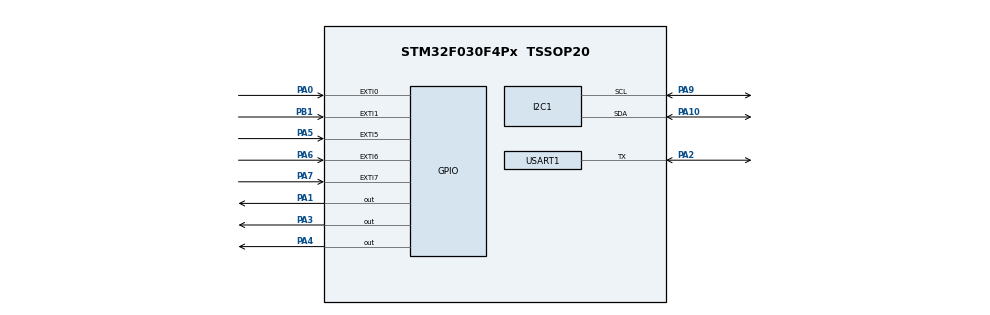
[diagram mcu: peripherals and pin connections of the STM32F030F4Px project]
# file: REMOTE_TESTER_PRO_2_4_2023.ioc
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Mcu.Family=STM32F0
Mcu.Name=STM32F030F4Px
Mcu.Package=TSSOP20
NVIC.EXTI0_1_IRQn=true\:0\:0\:true\:false\:true\:true\:true
NVIC.EXTI4_15_IRQn=true\:0\:0\:false\:false\:true\:true\:true
PA0.GPIO_ModeDefaultEXTI=GPIO_MODE_IT_RISING_FALLING
PA0.Signal=GPXTI0
PA1.Signal=GPIO_Output
PA10.Mode=I2C
PA10.Signal=I2C1_SDA
PA13.Mode=Serial_Wire
PA13.Signal=SYS_SWDIO
PA14.Mode=Serial_Wire
PA14.Signal=SYS_SWCLK
PA2.Mode=Half_duplex(single_wire_mode)
PA2.Signal=USART1_TX
PA3.Signal=GPIO_Output
PA4.GPIO_PuPd=GPIO_PULLUP
PA4.Signal=GPIO_Output
PA5.GPIO_ModeDefaultEXTI=GPIO_MODE_IT_RISING_FALLING
PA5.Signal=GPXTI5
PA6.GPIO_ModeDefaultEXTI=GPIO_MODE_IT_RISING
PA6.Signal=GPXTI6
PA7.GPIO_ModeDefaultEXTI=GPIO_MODE_IT_RISING
PA7.Signal=GPXTI7
PA9.Mode=I2C
PA9.Signal=I2C1_SCL
PB1.GPIO_ModeDefaultEXTI=GPIO_MODE_IT_RISING
PB1.Signal=GPXTI1
ProjectManager.HeapSize=0x200
ProjectManager.StackSize=0x400
ProjectManager.TargetToolchain=MDK-ARM V5.27
TIM14.Period=50000
TIM14.Prescaler=439
TIM16.Prescaler=39999
USART1.BaudRate=9600
USART1.VirtualMode-Half_duplex(single_wire_mode)=VM_ASYNC
VP_TIM14_VS_ClockSourceINT.Mode=Enable_Timer
VP_TIM16_VS_ClockSourceINT.Mode=Enable_Timer
board=custom

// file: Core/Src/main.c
/* USER CODE BEGIN Header */
/**
  ******************************************************************************
  * @file           : main.c
  * @brief          : Main program body
  ******************************************************************************
  * @attention
  *
  * <h2><center>&copy; Copyright (c) 2023 STMicroelectronics.
  * All rights reserved.</center></h2>
  *
  * This software component is licensed by ST under BSD 3-Clause license,
  * the "License"; You may not use this file except in compliance with the
  * License. You may obtain a copy of the License at:
  *                        opensource.org/licenses/BSD-3-Clause
  *
  ******************************************************************************
  */
/* USER CODE END Header */
#include "main.h"

/* USER CODE BEGIN Includes */
#include <stdbool.h>
#include <stdio.h>
#include <stdlib.h>
#include <string.h>
#include <ssd1306.h>
/* USER CODE END Includes */

/* USER CODE BEGIN PTD */
#define ms_converter 	17  //at timer pr =439 : 1.8ms ==32 step => 1ms ==17 step
#define time_out 	ms_converter*10  //10ms at timer pr =439
#define EEPROM_I2C &hi2c1
/* USER CODE END PTD */

I2C_HandleTypeDef hi2c1;

TIM_HandleTypeDef htim14;
TIM_HandleTypeDef htim16;

UART_HandleTypeDef huart1;

void SystemClock_Config(void);
static void MX_GPIO_Init(void);
static void MX_I2C1_Init(void);
static void MX_TIM14_Init(void);
static void MX_USART1_UART_Init(void);
static void MX_TIM16_Init(void);
/* USER CODE BEGIN PFP */
bool flg = false;
int  bit_cntr=0;
uint8_t signal_state=0;
uint8_t byte_cntr=0,temporary_data=0;
uint8_t data_repository[255];
uint8_t data_sorter[255];
uint8_t data_repository_to_binary[255];
uint8_t data_display[40];
uint8_t system_reverse[2];
uint8_t data_reverse[1];

bool tx_flag=0;
uint8_t search_res[20];
uint8_t oled_convert_data[16]={'0','1','2','3','4','5','6','7','8','9','A','B','C','D','E','F'};
uint8_t oled_convert_data_decimal[10]={'0','1','2','3','4','5','6','7','8','9'};
uint8_t bzgtrn=0;//most biggest data
uint8_t riztrn=0;//most smalling :) data
uint8_t data_bit_lenght=0;//data len per bits
uint8_t average=0;//average betwen riz and big
uint8_t tedad=0;
uint8_t	index_updater_flg=0;//flag for updating first loc (2B ) of at24

				//while(!HAL_I2C_Mem_Write(EEPROM_I2C,AT24ADDRESS,0*32,2,at24.read_lst_loc,2,1000));
uint8_t tst[32]={0};//
//////////////////////////////////////////////////////////////////menu
#define start_up_layer 0
#define home_layer 1
#define save_layer 2
#define memory_layer 3
#define search_layer 4
#define save_notif_layer 5

#define AT24ADDRESS 0xA0
struct menu
{
	uint8_t layer;
};
struct menu my_menu;
/////////////////////////////////////////////////////////////////save menu
uint8_t name_monitor[37]={'A','B','C','D','E','F','G','H','I','J','K','L','M','N','O','P','Q','R','S','T','U','V','W','X','Y','Z',
													'0','1','2','3','4','5','6','7','8','9'};

struct at24c256
{
	uint8_t read_lst_loc[2];
	uint8_t	read_data[32];
	uint8_t saver_buff[32];
	uint8_t last_add[2];//0...0x7fff
}	;
struct at24c256 at24;

struct name_menu
{
	uint8_t name_buff_index;
	uint8_t name_x_loc;
	uint8_t name_y_loc;
	uint8_t name_buf[20];
};
struct name_menu my_name;

//struct current_key_info
//{
//	uint8_t tedad[2];
//	uint8_t data[10];
//	uint8_t name_buf[20];
//};
//struct current_key_info informaition;
/* USER CODE END PFP */

/* USER CODE BEGIN 0 */
void searching (void);
void lcd_manager (uint8_t lcd_status);
void swap(uint8_t* xp, uint8_t* yp);
void selectionSort(uint8_t arr[], uint8_t n);
void HAL_GPIO_EXTI_Callback(uint16_t GPIO_Pin)
{//HAL_UART_Transmit(&huart1,(uint8_t *)&signal_state,1,100);
	//HAL_GPIO_TogglePin(GPIOA,GPIO_PIN_4);
	if(GPIO_Pin==GPIO_PIN_5 && tx_flag==0 && my_menu.layer==home_layer)
	{
		switch (signal_state)
		{
/*-------------------------------------------------------------------------*/
			case 0 :			//waiting for preamble

				if(HAL_GPIO_ReadPin(GPIOA,GPIO_PIN_5)==0)//falling edge
				{

					signal_state=1;
					__HAL_TIM_SET_COUNTER(&htim14,0);
					HAL_TIM_Base_Start(&htim14);
				}
				break;

/*-------------------------------------------------------------------------*/
			case 1 :		//first preamble cheking
				if(HAL_GPIO_ReadPin(GPIOA,GPIO_PIN_5)==1)//rising edge
				{
					if(__HAL_TIM_GET_COUNTER(&htim14)>3*ms_converter)//3 ms(at timer_pr=439 : 1.8ms == 32 step)
					{

						signal_state=2;
						HAL_TIM_Base_Stop(&htim14);
						__HAL_TIM_SET_COUNTER(&htim14,0);
					}
					else
					{	signal_state--; }

				}
				else
				{	signal_state--; }
				break;
/*-------------------------------------------------------------------------*/
			case 2 :
				if(HAL_GPIO_ReadPin(GPIOA,GPIO_PIN_5)==0)//falling edge
				{

					signal_state=3;
					//HAL_GPIO_WritePin(GPIOA,GPIO_PIN_1,GPIO_PIN_SET);++++++++++++++++++++++++
					HAL_GPIO_WritePin(GPIOA,GPIO_PIN_1,GPIO_PIN_SET);//buzz
				}
				else
				{
					signal_state=0;
				}
				break;
/*-------------------------------------------------------------------------*/
			case 3 :////data process

				if(HAL_GPIO_ReadPin(GPIOA,GPIO_PIN_5)==1)//rising edge
				{
					__HAL_TIM_SET_COUNTER(&htim14,0);
					HAL_TIM_Base_Start(&htim14);
				}
				else if(HAL_GPIO_ReadPin(GPIOA,GPIO_PIN_5)==0)//falling edge
				{
				//	if(__HAL_TIM_GET_COUNTER(&htim14)>=10)//wide
					//{
						data_repository[bit_cntr]=__HAL_TIM_GET_COUNTER(&htim14);
						HAL_TIM_Base_Stop(&htim14);
					//}
					//else
					//{
						//data_repository[bit_cntr]=0;

				//}
					bit_cntr++;
					data_bit_lenght=bit_cntr;
					HAL_GPIO_WritePin(GPIOA,GPIO_PIN_4,GPIO_PIN_RESET);
				}

				if(__HAL_TIM_GET_COUNTER(&htim14)>=5*ms_converter || bit_cntr>=255)//__HAL_TIM_GET_COUNTER(&htim14)>=5*ms_converter ||
				{
					HAL_NVIC_DisableIRQ(EXTI4_15_IRQn);
					bit_cntr=0;
					byte_cntr=0;
					signal_state=0;
					tx_flag=1;
					HAL_TIM_Base_Stop(&htim14);
					HAL_GPIO_WritePin(GPIOA,GPIO_PIN_4,GPIO_PIN_SET);

				}

				break;

/*-------------------------------------------------------------------------*/
			default:
				break;
		}
	}
	//************************************************************************* key pad
	else if(GPIO_Pin==GPIO_PIN_0)//1 6 7 0 //1:right
	{

	//	HAL_GPIO_TogglePin(GPIOA,GPIO_PIN_4);
		if(my_menu.layer==home_layer && HAL_GPIO_ReadPin(GPIOA,GPIO_PIN_0)==1) //save key pressed
		{
			my_menu.layer=save_layer;
			lcd_manager(save_layer);
			HAL_GPIO_TogglePin(GPIOA,GPIO_PIN_4);
		}
		else if(my_menu.layer==save_layer)
		{
		if(HAL_GPIO_ReadPin(GPIOA,GPIO_PIN_0)==0 && my_menu.layer==save_layer)
		{
			__HAL_TIM_SET_COUNTER(&htim16,0);
			HAL_TIM_Base_Start(&htim16);
		}
		else if(HAL_GPIO_ReadPin(GPIOA,GPIO_PIN_0)==1 && my_menu.layer==save_layer)
		{
			HAL_TIM_Base_Stop(&htim16);
			if(__HAL_TIM_GET_COUNTER(&htim16)<=400)
			{

				 if(my_menu.layer==save_layer && my_name.name_x_loc<10)
				{
					my_name.name_buf[my_name.name_x_loc]=name_monitor[my_name.name_buff_index];
					my_name.name_x_loc++;
					lcd_manager(save_layer);
				}
			}
			else//long holding
			{
				///saving to at24
				HAL_I2C_Mem_Read(EEPROM_I2C, AT24ADDRESS, 0*32, 2, at24.read_lst_loc, 2, 1000);//find index for saving
				if(at24.read_lst_loc[1]<255)
				{
				at24.read_lst_loc[1]++;
				}
				else if(at24.read_lst_loc[1]>=255 &&at24.read_lst_loc[0]<255 )
				{
					at24.read_lst_loc[1]=0;
					at24.read_lst_loc[0]++;
				}
				else
				{
					at24.read_lst_loc[1]=0;
					at24.read_lst_loc[0]=0;
				}
				index_updater_flg=1;
				//while(!HAL_I2C_Mem_Write(EEPROM_I2C,AT24ADDRESS,0*32,2,at24.read_lst_loc,2,1000));
				memset(at24.saver_buff,0,32);
			//	HAL_I2C_mem
				memcpy(at24.saver_buff+2,data_display,4);
				memcpy(at24.saver_buff+12,my_name.name_buf,my_name.name_x_loc);//my_name.name_buff_index
				memcpy(at24.saver_buff,at24.read_lst_loc,2);
				//while(!HAL_I2C_Mem_Write(EEPROM_I2C,AT24ADDRESS,1*32,2,at24.saver_buff,32,1000));
				while(!HAL_I2C_Mem_Write(EEPROM_I2C,AT24ADDRESS,((255*at24.read_lst_loc[0])+at24.read_lst_loc[1])*32,2,at24.saver_buff,32,1000));
				my_menu.layer=save_notif_layer;
				lcd_manager(save_notif_layer);

			}

		}
	}
		else if((my_menu.layer==start_up_layer|| my_menu.layer==save_notif_layer) && HAL_GPIO_ReadPin(GPIOA,GPIO_PIN_0)==1 )
		{
			memset(data_display,0,32);
			my_name.name_x_loc=0;
			my_menu.layer=home_layer;
			lcd_manager(home_layer);
		}
		__HAL_TIM_SET_COUNTER(&htim16,0);
	}
	//********************************************************************
	else if(GPIO_Pin==GPIO_PIN_6)//1 6 7 0///2 up
	{

		if(my_menu.layer==save_layer) //up
		{
			HAL_GPIO_TogglePin(GPIOA,GPIO_PIN_4);
			if(my_name.name_buff_index<25)
			my_name.name_buff_index++;
			else
				my_name.name_buff_index=0;
			lcd_manager(save_layer);
		}
			else if(my_menu.layer==start_up_layer || my_menu.layer==save_notif_layer)
		{
			memset(data_display,0,32);
			my_name.name_x_loc=0;
			my_menu.layer=home_layer;
			lcd_manager(home_layer);
		}
	//
	}
	//***************************************************************
	else	if(GPIO_Pin==GPIO_PIN_1)//1 6 7 0///4 left
	{
		HAL_GPIO_TogglePin(GPIOA,GPIO_PIN_4);
		if(my_menu.layer==save_layer && my_name.name_x_loc>0)
				{
					//my_name.name_buf[my_name.name_x_loc]=name_monitor[my_name.name_buff_index];
					my_name.name_x_loc--;
					lcd_manager(save_layer);
				}
			else if(my_menu.layer==start_up_layer || my_menu.layer==save_notif_layer)
		{
			memset(data_display,0,32);
			my_name.name_x_loc=0;
			my_menu.layer=home_layer;
			lcd_manager(home_layer);
		}
		else if(my_menu.layer==home_layer)
		{
			my_menu.layer=search_layer;
			lcd_manager(search_layer);
			searching();
		}

	}
	//*********************************************************

	else	if(GPIO_Pin==GPIO_PIN_7)//1 6 7 0///3 down
	{
		if(my_menu.layer==save_layer) //down
		{
			HAL_GPIO_TogglePin(GPIOA,GPIO_PIN_4);
			if(my_name.name_buff_index>0)
			my_name.name_buff_index--;
			else
				my_name.name_buff_index=25;
			lcd_manager(save_layer);
		}
		//
				else if(my_menu.layer==start_up_layer || my_menu.layer==save_notif_layer)
		{
			memset(data_display,0,32);
			my_name.name_x_loc=0;
			my_menu.layer=home_layer;
			lcd_manager(home_layer);
		}
	}

}

/* USER CODE END 0 */

int main(void)
{

  /* MCU Configuration--------------------------------------------------------*/

  /* Reset of all peripherals, Initializes the Flash interface and the Systick. */
  HAL_Init();

  /* Configure the system clock */
  SystemClock_Config();

  /* Initialize all configured peripherals */
  MX_GPIO_Init();
  MX_I2C1_Init();
  MX_TIM14_Init();
  MX_USART1_UART_Init();
  MX_TIM16_Init();

  /* Infinite loop */
  /* USER CODE BEGIN WHILE */
		ssd1306_Init();
		//HAL_UART_Transmit(&huart1,(uint8_t *)&"hilooooo",32,100);

		//HAL_Delay(1000);
		HAL_GPIO_TogglePin(GPIOA,GPIO_PIN_4);
		my_menu.layer=start_up_layer;
		lcd_manager(my_menu.layer);
		HAL_GPIO_WritePin(GPIOA,GPIO_PIN_3,GPIO_PIN_RESET);
		//HAL_I2C_Mem_Write(&hi2c1,AT24ADDRESS,1,2,data_display,20,1000);
		//for(uint32_t i=0;i<10;i++)
	//	{
		//HAL_I2C_Mem_Read(EEPROM_I2C, AT24ADDRESS,0*32, 2, at24.read_data, 32, 1000);
		//HAL_UART_Transmit(&huart1,(uint8_t *)&at24.read_data,32,100);
		//while(!HAL_I2C_Mem_Write(EEPROM_I2C,AT24ADDRESS,0*32,2,tst,32,100));

		HAL_I2C_Mem_Read(EEPROM_I2C, AT24ADDRESS,0*32, 2, at24.read_data, 32, 1000);
		HAL_UART_Transmit(&huart1,(uint8_t *)&at24.read_data,32,100);

		HAL_I2C_Mem_Read(EEPROM_I2C, AT24ADDRESS, 1*32, 2, at24.read_data, 32, 1000);
		HAL_UART_Transmit(&huart1,(uint8_t *)&at24.read_data,32,100);
		/*
						HAL_I2C_Mem_Read(EEPROM_I2C, AT24ADDRESS,0*32, 2, at24.read_data, 32, 1000);
		HAL_UART_Transmit(&huart1,(uint8_t *)&at24.read_data,32,100);

		//}
				HAL_I2C_Mem_Read(EEPROM_I2C, AT24ADDRESS, 1*32, 2, at24.read_data, 32, 1000);
		HAL_UART_Transmit(&huart1,(uint8_t *)&at24.read_data,32,100);

				HAL_I2C_Mem_Read(EEPROM_I2C, AT24ADDRESS, 2*32, 2, at24.read_data, 32, 1000);
		HAL_UART_Transmit(&huart1,(uint8_t *)&at24.read_data,32,100);

						HAL_I2C_Mem_Read(EEPROM_I2C, AT24ADDRESS, 3*32, 2, at24.read_data, 32, 1000);
		HAL_UART_Transmit(&huart1,(uint8_t *)&at24.read_data,32,100);

						HAL_I2C_Mem_Read(EEPROM_I2C, AT24ADDRESS, 4*32, 2, at24.read_data, 32, 1000);
		HAL_UART_Transmit(&huart1,(uint8_t *)&at24.read_data,32,100);

				HAL_I2C_Mem_Read(EEPROM_I2C, AT24ADDRESS, 5*32, 2, at24.read_data, 32, 1000);
		HAL_UART_Transmit(&huart1,(uint8_t *)&at24.read_data,32,100);

						HAL_I2C_Mem_Read(EEPROM_I2C, AT24ADDRESS, 65, 2, at24.read_data, 32, 1000);
		HAL_UART_Transmit(&huart1,(uint8_t *)&at24.read_data,32,100);*/

	HAL_GPIO_WritePin(GPIOA,GPIO_PIN_3,GPIO_PIN_RESET);
  while (1)
  {
		if(index_updater_flg==1)
		{
			while(!HAL_I2C_Mem_Write(EEPROM_I2C,AT24ADDRESS,0*32,2,at24.read_lst_loc,2,1000));
			index_updater_flg=0;
		}
		if(__HAL_TIM_GET_COUNTER(&htim14)>=15*ms_converter && signal_state==3){
			HAL_NVIC_DisableIRQ(EXTI4_15_IRQn);
			bit_cntr=0;
			byte_cntr=0;
			signal_state=0;
			tx_flag=1;
			HAL_TIM_Base_Stop(&htim14);
			HAL_GPIO_WritePin(GPIOA,GPIO_PIN_4,GPIO_PIN_SET);
		}
		if(tx_flag==1)//--------------------------------------------------show data
		{//HAL_GPIO_WritePin(GPIOA,GPIO_PIN_4,GPIO_PIN_RESET);
			//HAL_UART_Transmit(&huart1,(uint8_t *)&data_bit_lenght,1,100);
			//HAL_UART_Transmit(&huart1,(uint8_t *)&data_repository,32,100);
			HAL_GPIO_WritePin(GPIOA,GPIO_PIN_1,GPIO_PIN_RESET);

			for(uint8_t i=0;i<data_bit_lenght-1;i++)//find longest width
			{
				if(bzgtrn<data_repository[i])
				bzgtrn=data_repository[i];
			}
			//***************************
			riztrn=bzgtrn;
			for(uint8_t i=0;i<data_bit_lenght-1;i++)//find  shortest width
			{
				if(riztrn>data_repository[i])
				riztrn=data_repository[i];
				//HAL_UART_Transmit(&huart1,(uint8_t *)&data_repository[i],1,100);
			}
			//***********************************sort
			HAL_UART_Transmit(&huart1,(uint8_t *)(0xff),1,100);
			memcpy(data_sorter,data_repository,255);
			selectionSort(data_sorter, data_bit_lenght-1);
			//for(uint8_t i=0;i<data_bit_lenght-1;i++)//find  shortest width
			//{
				//HAL_UART_Transmit(&huart1,(uint8_t *)&data_sorter[i],1,100);
			//}
			riztrn=data_sorter[1];
			bzgtrn=data_sorter[data_bit_lenght-3];
			//***********************************avg
			average=(riztrn+bzgtrn)/2;
			//HAL_UART_Transmit(&huart1,(uint8_t *)&riztrn,1,100);
			//HAL_UART_Transmit(&huart1,(uint8_t *)&bzgtrn,1,100);
			//********************************assign bits from width
			for(uint8_t i=0;i<data_bit_lenght;i++)
			{
				if(data_repository[i]>=average)
				{
					data_repository_to_binary[i]=1;
				}
				else
				{
					data_repository_to_binary[i]=0;
				}
			//	HAL_UART_Transmit(&huart1,(uint8_t *)&data_repository[i],1,100);
			}
			//************************assign Bytes
			memset(data_display,0,sizeof(data_display));
			for (uint8_t i=0;i<data_bit_lenght;i++)
			{

				data_display[i/8]|=(data_repository_to_binary[i]&0x01)<<(7-(i%8));

			}

			for(int i=0;i<=3; i++){
				//HAL_UART_Transmit(&huart1,(uint8_t *)&data_display[i],1,100);
			}
			//reverse system & data bits
			for (uint8_t i=0;i<16;i++)//sys
			{
				if((i%8)<4)
				system_reverse[i/8]|=(data_display[1-(i/8)]&((0x01)<<(i%8)))<<(7-(2*(i%8)));
				else if((i%8)>=4)
				system_reverse[i/8]|=(data_display[1-(i/8)]&((0x01)<<(i%8)))>>((2*(i%8))-7);
			}
			for (uint8_t i=0;i<2;i++)
			{
				data_display[i]=system_reverse[i];
				//HAL_UART_Transmit(&huart1,(uint8_t *)&system_reverse[i],1,100);
			}
			memset(system_reverse,0,sizeof(system_reverse));
			///

			for (uint8_t i=16;i<24;i++)//data
			{
				if((i%8)<4)
				data_reverse[0]|=(data_display[2]&((0x01)<<(i%8)))<<(7-(2*(i%8)));
				else if((i%8)>=4)
				data_reverse[0]|=(data_display[2]&((0x01)<<(i%8)))>>((2*(i%8))-7);
			}
			for (uint8_t i=2;i<3;i++)
			{
				data_display[i]=data_reverse[0];
				//HAL_UART_Transmit(&huart1,(uint8_t *)&data_reverse[0],1,100);
			}
			memset(data_reverse,0,sizeof(data_reverse));
			//****************************************tedad
			if(((data_bit_lenght-1)%8)==0)
			{
			tedad=((data_bit_lenght-1)/8);
			}
			else
			{
				tedad=((data_bit_lenght-1)/8)+1;
			}
			//HAL_UART_Transmit(&huart1,(uint8_t *)&tedad,1,100);
			for(int i=0;i<=tedad+1 ; i++){
			//	HAL_UART_Transmit(&huart1,(uint8_t *)&data_display[i],1,100);
			}
			//HAL_UART_Transmit(&huart1,(uint8_t *)&data_display,tedad,100);
			lcd_manager(home_layer);
			//----------------------------------------------cleare old data
			for (uint8_t i=0;i<4;i++)
			{
				//data_display[i]=0;
			}
			//HAL_Delay(500);
			tx_flag=0;
			bzgtrn=0;
			riztrn=0;

			HAL_Delay(200);

			//HAL_GPIO_WritePin(GPIOA,GPIO_PIN_4,GPIO_PIN_SET);
			HAL_NVIC_EnableIRQ(EXTI4_15_IRQn);
			//HAL_UART_Transmit(&huart1,(uint8_t *)&signal_state,1,100);
		}

    /* USER CODE END WHILE */

  }
}

void SystemClock_Config(void)
{
  RCC_OscInitTypeDef RCC_OscInitStruct = {0};
  RCC_ClkInitTypeDef RCC_ClkInitStruct = {0};
  RCC_PeriphCLKInitTypeDef PeriphClkInit = {0};

  /** Initializes the RCC Oscillators according to the specified parameters
  * in the RCC_OscInitTypeDef structure.
  */
  RCC_OscInitStruct.OscillatorType = RCC_OSCILLATORTYPE_HSI;
  RCC_OscInitStruct.HSIState = RCC_HSI_ON;
  RCC_OscInitStruct.HSICalibrationValue = RCC_HSICALIBRATION_DEFAULT;
  RCC_OscInitStruct.PLL.PLLState = RCC_PLL_NONE;
  if (HAL_RCC_OscConfig(&RCC_OscInitStruct) != HAL_OK)
  {
    Error_Handler();
  }
  /** Initializes the CPU, AHB and APB buses clocks
  */
  RCC_ClkInitStruct.ClockType = RCC_CLOCKTYPE_HCLK|RCC_CLOCKTYPE_SYSCLK
                              |RCC_CLOCKTYPE_PCLK1;
  RCC_ClkInitStruct.SYSCLKSource = RCC_SYSCLKSOURCE_HSI;
  RCC_ClkInitStruct.AHBCLKDivider = RCC_SYSCLK_DIV1;
  RCC_ClkInitStruct.APB1CLKDivider = RCC_HCLK_DIV1;

  if (HAL_RCC_ClockConfig(&RCC_ClkInitStruct, FLASH_LATENCY_0) != HAL_OK)
  {
    Error_Handler();
  }
  PeriphClkInit.PeriphClockSelection = RCC_PERIPHCLK_USART1|RCC_PERIPHCLK_I2C1;
  PeriphClkInit.Usart1ClockSelection = RCC_USART1CLKSOURCE_PCLK1;
  PeriphClkInit.I2c1ClockSelection = RCC_I2C1CLKSOURCE_HSI;
  if (HAL_RCCEx_PeriphCLKConfig(&PeriphClkInit) != HAL_OK)
  {
    Error_Handler();
  }
}

static void MX_I2C1_Init(void)
{

  hi2c1.Instance = I2C1;
  hi2c1.Init.Timing = 0x2000090E;
  hi2c1.Init.OwnAddress1 = 0;
  hi2c1.Init.AddressingMode = I2C_ADDRESSINGMODE_7BIT;
  hi2c1.Init.DualAddressMode = I2C_DUALADDRESS_DISABLE;
  hi2c1.Init.OwnAddress2 = 0;
  hi2c1.Init.OwnAddress2Masks = I2C_OA2_NOMASK;
  hi2c1.Init.GeneralCallMode = I2C_GENERALCALL_DISABLE;
  hi2c1.Init.NoStretchMode = I2C_NOSTRETCH_DISABLE;
  if (HAL_I2C_Init(&hi2c1) != HAL_OK)
  {
    Error_Handler();
  }
  /** Configure Analogue filter
  */
  if (HAL_I2CEx_ConfigAnalogFilter(&hi2c1, I2C_ANALOGFILTER_ENABLE) != HAL_OK)
  {
    Error_Handler();
  }
  /** Configure Digital filter
  */
  if (HAL_I2CEx_ConfigDigitalFilter(&hi2c1, 0) != HAL_OK)
  {
    Error_Handler();
  }

}

static void MX_TIM14_Init(void)
{

  htim14.Instance = TIM14;
  htim14.Init.Prescaler = 439;
  htim14.Init.CounterMode = TIM_COUNTERMODE_UP;
  htim14.Init.Period = 50000;
  htim14.Init.ClockDivision = TIM_CLOCKDIVISION_DIV1;
  htim14.Init.AutoReloadPreload = TIM_AUTORELOAD_PRELOAD_DISABLE;
  if (HAL_TIM_Base_Init(&htim14) != HAL_OK)
  {
    Error_Handler();
  }

}

static void MX_TIM16_Init(void)
{

  htim16.Instance = TIM16;
  htim16.Init.Prescaler = 39999;
  htim16.Init.CounterMode = TIM_COUNTERMODE_UP;
  htim16.Init.Period = 65535;
  htim16.Init.ClockDivision = TIM_CLOCKDIVISION_DIV1;
  htim16.Init.RepetitionCounter = 0;
  htim16.Init.AutoReloadPreload = TIM_AUTORELOAD_PRELOAD_DISABLE;
  if (HAL_TIM_Base_Init(&htim16) != HAL_OK)
  {
    Error_Handler();
  }

}

static void MX_USART1_UART_Init(void)
{

  huart1.Instance = USART1;
  huart1.Init.BaudRate = 9600;
  huart1.Init.WordLength = UART_WORDLENGTH_8B;
  huart1.Init.StopBits = UART_STOPBITS_1;
  huart1.Init.Parity = UART_PARITY_NONE;
  huart1.Init.Mode = UART_MODE_TX_RX;
  huart1.Init.HwFlowCtl = UART_HWCONTROL_NONE;
  huart1.Init.OverSampling = UART_OVERSAMPLING_16;
  huart1.Init.OneBitSampling = UART_ONE_BIT_SAMPLE_DISABLE;
  huart1.AdvancedInit.AdvFeatureInit = UART_ADVFEATURE_NO_INIT;
  if (HAL_HalfDuplex_Init(&huart1) != HAL_OK)
  {
    Error_Handler();
  }

}

static void MX_GPIO_Init(void)
{
  GPIO_InitTypeDef GPIO_InitStruct = {0};

  /* GPIO Ports Clock Enable */
  __HAL_RCC_GPIOA_CLK_ENABLE();
  __HAL_RCC_GPIOB_CLK_ENABLE();

  /*Configure GPIO pin Output Level */
  HAL_GPIO_WritePin(GPIOA, GPIO_PIN_1|GPIO_PIN_3|GPIO_PIN_4, GPIO_PIN_RESET);

  /*Configure GPIO pins : PA0 PA5 */
  GPIO_InitStruct.Pin = GPIO_PIN_0|GPIO_PIN_5;
  GPIO_InitStruct.Mode = GPIO_MODE_IT_RISING_FALLING;
  GPIO_InitStruct.Pull = GPIO_NOPULL;
  HAL_GPIO_Init(GPIOA, &GPIO_InitStruct);

  /*Configure GPIO pins : PA1 PA3 */
  GPIO_InitStruct.Pin = GPIO_PIN_1|GPIO_PIN_3;
  GPIO_InitStruct.Mode = GPIO_MODE_OUTPUT_PP;
  GPIO_InitStruct.Pull = GPIO_NOPULL;
  GPIO_InitStruct.Speed = GPIO_SPEED_FREQ_LOW;
  HAL_GPIO_Init(GPIOA, &GPIO_InitStruct);

  /*Configure GPIO pin : PA4 */
  GPIO_InitStruct.Pin = GPIO_PIN_4;
  GPIO_InitStruct.Mode = GPIO_MODE_OUTPUT_PP;
  GPIO_InitStruct.Pull = GPIO_PULLUP;
  GPIO_InitStruct.Speed = GPIO_SPEED_FREQ_LOW;
  HAL_GPIO_Init(GPIOA, &GPIO_InitStruct);

  /*Configure GPIO pins : PA6 PA7 */
  GPIO_InitStruct.Pin = GPIO_PIN_6|GPIO_PIN_7;
  GPIO_InitStruct.Mode = GPIO_MODE_IT_RISING;
  GPIO_InitStruct.Pull = GPIO_NOPULL;
  HAL_GPIO_Init(GPIOA, &GPIO_InitStruct);

  /*Configure GPIO pin : PB1 */
  GPIO_InitStruct.Pin = GPIO_PIN_1;
  GPIO_InitStruct.Mode = GPIO_MODE_IT_RISING;
  GPIO_InitStruct.Pull = GPIO_NOPULL;
  HAL_GPIO_Init(GPIOB, &GPIO_InitStruct);

  /* EXTI interrupt init*/
  HAL_NVIC_SetPriority(EXTI0_1_IRQn, 0, 0);
  HAL_NVIC_EnableIRQ(EXTI0_1_IRQn);

  HAL_NVIC_SetPriority(EXTI4_15_IRQn, 0, 0);
  HAL_NVIC_EnableIRQ(EXTI4_15_IRQn);

}

/* USER CODE BEGIN 4 */
void lcd_manager (uint8_t lcd_status)
{
	//----------------------------------------------------------------oled
	if(lcd_status == home_layer)
	{
			ssd1306_Fill(Black);
			for(uint8_t i=0;i<tedad;i++)
			{
				if(i<=4){
					ssd1306_SetCursor(i*22,0);
					ssd1306_WriteChar(oled_convert_data[data_display[i]/16],Font_11x18 ,White);
					ssd1306_SetCursor((i*22)+11,0);
					ssd1306_WriteChar(oled_convert_data[data_display[i]%16],Font_11x18 ,White);
				}
				else if(i<10 && i>=5){
					ssd1306_SetCursor((i-5)*22,20);
					ssd1306_WriteChar(oled_convert_data[data_display[i]/16],Font_11x18 ,White);
					ssd1306_SetCursor(((i-5)*22)+11,20);
					ssd1306_WriteChar(oled_convert_data[data_display[i]%16],Font_11x18 ,White);
				}

				else if(i>=10 && i<13){
					ssd1306_SetCursor((i-10)*22,40);
					ssd1306_WriteChar(oled_convert_data[data_display[i]/16],Font_11x18 ,White);
					ssd1306_SetCursor(((i-10)*22)+11,40);
					ssd1306_WriteChar(oled_convert_data[data_display[i]%16],Font_11x18 ,White);
				}
		}
			//show lenght
			ssd1306_SetCursor(75,40);
			ssd1306_WriteString("len:",Font_7x10 ,White);

			ssd1306_SetCursor(105,40);
			ssd1306_WriteChar(oled_convert_data[tedad/100],Font_7x10 ,White);

					ssd1306_SetCursor(112,40);
			ssd1306_WriteChar(oled_convert_data[tedad/10],Font_7x10 ,White);

					ssd1306_SetCursor(119,40);
			ssd1306_WriteChar(oled_convert_data[tedad%10],Font_7x10 ,White);

					ssd1306_SetCursor(90,53);
			ssd1306_WriteString("SAVE",Font_7x10 ,White);

							ssd1306_SetCursor(0,53);
			ssd1306_WriteString("Search",Font_7x10 ,White);
			ssd1306_UpdateScreen();
	}
	//*****************************************************************
	else if(lcd_status== save_layer)
	{
		ssd1306_Fill(Black);
			for(uint8_t i=0;i<tedad;i++)
			{
				if(i<=4){
					ssd1306_SetCursor(i*22,25);
					ssd1306_WriteChar(oled_convert_data[data_display[i]/16],Font_11x18 ,White);
					ssd1306_SetCursor((i*22)+11,25);
					ssd1306_WriteChar(oled_convert_data[data_display[i]%16],Font_11x18 ,White);
				}
			}
						for(uint8_t i=0;i<my_name.name_x_loc;i++)
			{
				///saved
			ssd1306_SetCursor(i*11,my_name.name_y_loc);
			ssd1306_WriteChar(my_name.name_buf[i],Font_11x18 ,White);
			}
			//last
			ssd1306_SetCursor(my_name.name_x_loc*11,my_name.name_y_loc);
			ssd1306_WriteChar(name_monitor[my_name.name_buff_index],Font_11x18 ,White);

						ssd1306_UpdateScreen();
	}
	//*****************************************************************
	else if(lcd_status== save_notif_layer)
	{
		ssd1306_Fill(Black);
		ssd1306_SetCursor(30,10);
		ssd1306_WriteString("DATA",Font_11x18 ,White);
				ssd1306_SetCursor(25,40);
		ssd1306_WriteString("SAVED!",Font_11x18 ,White);
		ssd1306_UpdateScreen();
	}
	//*************************************
	else if(lcd_status == start_up_layer)
	{
		ssd1306_Fill(Black);
		ssd1306_SetCursor(0,0);
		ssd1306_WriteString("REMOTE",Font_7x10 ,White);

		ssd1306_SetCursor(0,15);
		ssd1306_WriteString("TESTER",Font_7x10 ,White);
		ssd1306_SetCursor(0,30);
		ssd1306_WriteString("professional",Font_7x10 ,White);

		ssd1306_SetCursor(0,45);
		ssd1306_WriteString("DESIGNED BY REZZ",Font_7x10 ,White);
		ssd1306_UpdateScreen();
	}

		else if(lcd_status == search_layer)
		{
		ssd1306_Fill(Black);

		ssd1306_SetCursor(20,15);
		ssd1306_WriteString("searching",Font_11x18 ,White);
		ssd1306_SetCursor(21,40);
		ssd1306_WriteString(". . . ",Font_11x18 ,White);

		ssd1306_UpdateScreen();

		}

}
void searching (void)
{
uint8_t cmp=1;
int x=0;

for (x=0;x<1000;x++)
{
	HAL_I2C_Mem_Read(EEPROM_I2C, AT24ADDRESS, x*32, 2, at24.read_lst_loc, 32, 1000);
	cmp=memcmp(at24.read_lst_loc+2,data_display,4);
	if(cmp==0)
	{

		memcpy(search_res,at24.read_lst_loc+12,10);//data
		HAL_UART_Transmit(&huart1,(uint8_t *)&x,1,100);
		for (int y=0;y<10;y++)
		{
			HAL_UART_Transmit(&huart1,(uint8_t *)&search_res[y],1,100);
		}
		break;
	}
}
if(cmp==1)
{
			my_menu.layer=home_layer;
			lcd_manager(home_layer);
}
else
{
ssd1306_Fill(Black);

ssd1306_SetCursor(0,0);
ssd1306_WriteChar(search_res[0],Font_11x18 ,White);
ssd1306_SetCursor((0)+11,0);
ssd1306_WriteChar(search_res[1],Font_11x18 ,White);

	ssd1306_SetCursor(22,0);
ssd1306_WriteChar(search_res[2],Font_11x18 ,White);
ssd1306_SetCursor((22)+11,0);
ssd1306_WriteChar(search_res[3],Font_11x18 ,White);

	ssd1306_SetCursor(44,0);
ssd1306_WriteChar(search_res[4],Font_11x18 ,White);
ssd1306_SetCursor((44)+11,0);
ssd1306_WriteChar(search_res[5],Font_11x18 ,White);
	/*
for(uint8_t i=0;i<4;i++)
{
if(i<=4){
	ssd1306_SetCursor(i*22,0);
	ssd1306_WriteChar(search_res[0],Font_11x18 ,White);
	ssd1306_SetCursor((i*22)+11,0);
	ssd1306_WriteChar(search_res[1],Font_11x18 ,White);
}
else if(i<10 && i>=5){
	ssd1306_SetCursor((i-5)*22,20);
	ssd1306_WriteChar(search_res[2],Font_11x18 ,White);
	ssd1306_SetCursor(((i-5)*22)+11,20);
	ssd1306_WriteChar(search_res[3],Font_11x18 ,White);
}

else if(i>=10 && i<13){
	ssd1306_SetCursor((i-10)*22,40);
	ssd1306_WriteChar(search_res[4],Font_11x18 ,White);
	ssd1306_SetCursor(((i-10)*22)+11,40);
	ssd1306_WriteChar(search_res[5],Font_11x18 ,White);
}
}*/
ssd1306_UpdateScreen();

}
}
void swap(uint8_t* xp, uint8_t* yp)
{
    uint8_t temp = *xp;
    *xp = *yp;
    *yp = temp;
}

// Function to perform Selection Sort
void selectionSort(uint8_t arr[], uint8_t n)
{
    uint8_t i, j, min_idx;

    // One by one move boundary of unsorted subarray
    for (i = 0; i < n - 1; i++) {

        // Find the minimum element in unsorted array
        min_idx = i;
        for (j = i + 1; j < n; j++)
            if (arr[j] < arr[min_idx])
                min_idx = j;

        // Swap the found minimum element
        // with the first element
        swap(&arr[min_idx], &arr[i]);
    }
}
/* USER CODE END 4 */

void Error_Handler(void)
{
  __disable_irq();
  while (1)
  {
  }
}

/************************ (C) COPYRIGHT STMicroelectronics *****END OF FILE****/
